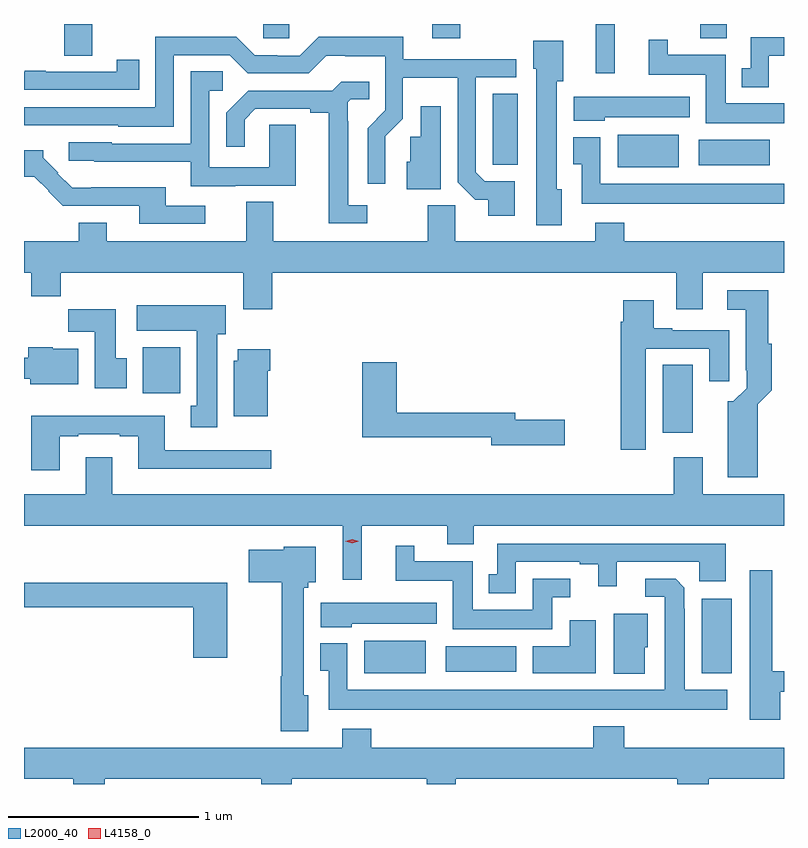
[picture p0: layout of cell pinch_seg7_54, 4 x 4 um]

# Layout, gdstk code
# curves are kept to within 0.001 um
import gdstk
lib = gdstk.Library(unit=1e-6, precision=1e-09)
def R(c, l, rs):  # rectangles x0, y0, x1, y1
    for r in rs: c.add(gdstk.rectangle(r[:2], r[2:], *l))
def P(c, l, *ps):  # polygons
    for p in ps: c.add(gdstk.Polygon(p, *l))
L2000_40 = (2000, 40)
L4158_0 = (4158, 0)

pinch_seg7_54 = lib.new_cell('pinch_seg7_54')
R(pinch_seg7_54, L2000_40, [(973.868,1046.459,974.191,1046.629), (975.644,1046.459,975.802,1046.851), (974.295,1046.468,974.668,1046.602), (975.437,1047.726,975.595,1048.082), (972.701,1047.932,972.898,1048.174), (975.2,1049.123,975.523,1049.293), (975.627,1049.132,976,1049.266), (975.086,1049.616,975.185,1049.876), (972.287,1049.71,972.435,1049.876), (974.225,1049.801,974.373,1049.876), (975.635,1049.801,975.775,1049.876), (973.335,1049.802,973.473,1049.876)])
P(pinch_seg7_54, L2000_40, [(974.659,1049.049),(974.502,1049.049),(974.454,1049.097),(974.454,1049.595),(974.668,1049.595),(974.668,1049.691),(974.071,1049.691),(974.071,1049.809),(973.627,1049.809),(973.527,1049.709),(973.41,1049.709),(973.41,1049.712),(973.29,1049.712),(973.194,1049.808),(972.768,1049.808),(972.768,1049.439),(972.076,1049.439),(972.076,1049.342),(972.573,1049.343),(972.573,1049.336),(972.864,1049.336),(972.864,1049.712),(973.158,1049.712),(973.254,1049.616),(973.575,1049.616),(973.668,1049.709),(973.768,1049.709),(973.768,1049.705),(973.977,1049.705),(973.977,1049.421),(973.884,1049.328),(973.884,1049.034),(973.978,1049.034),(973.978,1049.286),(974.07,1049.378),(974.07,1049.594),(974.358,1049.594),(974.358,1049.043),(974.451,1048.951),(974.519,1048.951),(974.519,1048.866),(974.659,1048.866)],
  [(975.996,1049.709),(976.076,1049.709),(976.076,1049.805),(975.9,1049.805),(975.9,1049.643),(975.854,1049.643),(975.854,1049.543),(975.996,1049.543)],
  [(976.076,1049.458),(975.769,1049.458),(975.769,1049.713),(975.463,1049.713),(975.463,1049.794),(975.365,1049.794),(975.365,1049.609),(975.665,1049.609),(975.665,1049.354),(976.076,1049.354)],
  [(974.905,1049.007),(974.881,1049.007),(974.881,1049.574),(974.914,1049.574),(974.914,1049.788),(974.756,1049.788),(974.756,1049.64),(974.771,1049.64),(974.771,1048.817),(974.905,1048.817)],
  [(972.683,1049.689),(972.565,1049.689),(972.565,1049.625),(972.191,1049.625),(972.191,1049.63),(972.079,1049.63),(972.079,1049.625),(972.076,1049.625),(972.076,1049.529),(972.683,1049.529)],
  [(973.189,1049.025),(973.507,1049.025),(973.507,1049.345),(973.368,1049.345),(973.368,1049.121),(973.05,1049.121),(973.05,1049.526),(973.123,1049.526),(973.123,1049.627),(972.954,1049.627),(972.954,1049.247),(972.537,1049.247),(972.537,1049.253),(972.312,1049.253),(972.312,1049.157),(972.447,1049.157),(972.447,1049.15),(972.953,1049.15),(972.953,1049.021),(973.189,1049.021)],
  [(973.882,1048.923),(973.783,1048.923),(973.783,1049.363),(973.779,1049.363),(973.779,1049.463),(973.797,1049.481),(973.892,1049.481),(973.892,1049.573),(973.746,1049.573),(973.698,1049.526),(973.256,1049.526),(973.14,1049.41),(973.14,1049.229),(973.237,1049.229),(973.237,1049.373),(973.294,1049.43),(973.583,1049.43),(973.583,1049.41),(973.679,1049.41),(973.679,1048.827),(973.882,1048.827)],
  [(974.674,1049.51),(974.543,1049.51),(974.543,1049.242),(974.544,1049.242),(974.544,1049.134),(974.674,1049.134)],
  [(975.132,1049.384),(975.58,1049.384),(975.58,1049.494),(974.97,1049.494),(974.97,1049.366),(975.132,1049.366)],
  [(974.269,1049.443),(974.165,1049.443),(974.165,1049.283),(974.109,1049.283),(974.109,1049.151),(974.09,1049.151),(974.09,1049.006),(974.269,1049.006)],
  [(976.076,1049.035),(975.108,1049.035),(975.108,1049.281),(974.966,1049.281),(974.966,1049.137),(975.011,1049.137),(975.011,1048.931),(976.076,1048.931)],
  [(973.03,1048.92),(972.823,1048.92),(972.823,1049.017),(972.43,1049.017),(972.43,1049.015),(972.329,1049.015),(972.252,1049.091),(972.255,1049.094),(972.176,1049.173),(972.176,1049.212),(972.076,1049.212),(972.076,1049.073),(972.131,1049.073),(972.205,1048.999),(972.203,1048.997),(972.279,1048.92),(972.683,1048.92),(972.683,1048.824),(973.03,1048.824)],
  [(973.382,1048.568),(975.509,1048.568),(975.509,1048.374),(975.649,1048.374),(975.649,1048.568),(976.076,1048.568),(976.076,1048.732),(975.236,1048.732),(975.236,1048.831),(975.083,1048.831),(975.083,1048.732),(974.346,1048.732),(974.346,1048.921),(974.2,1048.921),(974.2,1048.732),(973.387,1048.732),(973.387,1048.94),(973.247,1048.94),(973.247,1048.732),(972.511,1048.732),(972.511,1048.831),(972.364,1048.831),(972.364,1048.732),(972.076,1048.732),(972.076,1048.568),(972.113,1048.568),(972.113,1048.444),(972.269,1048.444),(972.269,1048.568),(973.229,1048.568),(973.229,1048.374),(973.382,1048.374)],
  [(975.937,1047.776),(975.938,1047.875),(976.012,1047.949),(976.012,1048.194),(975.994,1048.194),(975.994,1048.474),(975.777,1048.474),(975.777,1048.373),(975.875,1048.373),(975.875,1048.054),(975.879,1048.054),(975.879,1047.96),(975.809,1047.89),(975.779,1047.89),(975.779,1047.491),(975.937,1047.491)],
  [(975.349,1048.167),(975.683,1048.167),(975.683,1047.996),(975.787,1047.996),(975.787,1048.263),(975.487,1048.263),(975.487,1048.276),(975.391,1048.276),(975.391,1048.423),(975.23,1048.423),(975.23,1048.31),(975.218,1048.31),(975.218,1047.636),(975.349,1047.636)],
  [(973.093,1048.242),(973.138,1048.242),(973.138,1048.396),(972.669,1048.396),(972.669,1048.262),(972.986,1048.262),(972.986,1047.866),(972.953,1047.866),(972.953,1047.753),(973.093,1047.753)],
  [(972.616,1048.116),(972.559,1048.116),(972.559,1048.375),(972.31,1048.375),(972.31,1048.256),(972.449,1048.256),(972.449,1047.96),(972.616,1047.96)],
  [(972.361,1048.168),(972.228,1048.168),(972.228,1048.174),(972.098,1048.174),(972.098,1048.12),(972.076,1048.12),(972.076,1048.01),(972.11,1048.01),(972.11,1047.98),(972.361,1047.98)],
  [(973.36,1048.052),(973.373,1048.052),(973.373,1048.165),(973.202,1048.165),(973.202,1048.104),(973.181,1048.104),(973.181,1047.812),(973.36,1047.812)],
  [(974.923,1047.794),(974.662,1047.794),(974.662,1047.83),(974.039,1047.83),(974.039,1048.096),(973.856,1048.096),(973.856,1047.702),(974.534,1047.702),(974.534,1047.659),(974.923,1047.659)],
  [(972.265,1047.705),(972.361,1047.705),(972.361,1047.717),(972.581,1047.717),(972.581,1047.705),(972.677,1047.705),(972.677,1047.536),(973.378,1047.536),(973.378,1047.633),(972.817,1047.633),(972.817,1047.814),(972.113,1047.814),(972.113,1047.528),(972.265,1047.528)],
  [(973.853,1047.236),(974.303,1047.236),(974.303,1047.137),(974.443,1047.137),(974.443,1047.236),(976.076,1047.236),(976.076,1047.4),(975.649,1047.4),(975.649,1047.595),(975.497,1047.595),(975.497,1047.4),(972.541,1047.4),(972.541,1047.595),(972.401,1047.595),(972.401,1047.4),(972.076,1047.4),(972.076,1047.236),(973.754,1047.236),(973.754,1046.952),(973.853,1046.952)],
  [(974.664,1047.045),(975.002,1047.045),(975.002,1047.033),(975.098,1047.033),(975.098,1046.916),(975.196,1046.916),(975.196,1047.045),(975.63,1047.045),(975.63,1046.942),(975.769,1046.942),(975.769,1047.141),(974.568,1047.141),(974.568,1046.979),(974.522,1046.979),(974.522,1046.879),(974.664,1046.879)],
  [(974.857,1046.859),(974.95,1046.859),(974.95,1046.955),(974.753,1046.955),(974.753,1046.794),(974.437,1046.794),(974.437,1047.049),(974.131,1047.049),(974.131,1047.13),(974.033,1047.13),(974.033,1046.945),(974.333,1046.945),(974.333,1046.69),(974.857,1046.69)],
  [(973.573,1046.343),(973.549,1046.343),(973.549,1046.91),(973.573,1046.91),(973.573,1046.939),(973.612,1046.939),(973.612,1047.124),(973.443,1047.124),(973.443,1047.109),(973.26,1047.109),(973.26,1046.939),(973.432,1046.939),(973.432,1046.443),(973.427,1046.443),(973.427,1046.153),(973.573,1046.153)],
  [(976.057,1046.361),(976.076,1046.361),(976.076,1046.469),(976.015,1046.469),(976.015,1047.001),(975.896,1047.001),(975.896,1046.214),(976.057,1046.214)],
  [(975.778,1046.371),(975.553,1046.371),(975.552,1046.909),(975.506,1046.955),(975.345,1046.955),(975.345,1046.862),(975.449,1046.862),(975.449,1046.371),(973.776,1046.371),(973.776,1046.617),(973.634,1046.617),(973.634,1046.473),(973.679,1046.473),(973.679,1046.267),(975.778,1046.267)],
  [(973.146,1046.935),(972.076,1046.935),(972.076,1046.806),(972.968,1046.806),(972.968,1046.541),(973.146,1046.541)],
  [(973.8,1046.72),(974.248,1046.72),(974.248,1046.83),(973.638,1046.83),(973.638,1046.702),(973.8,1046.702)],
  [(975.343,1046.595),(975.358,1046.595),(975.358,1046.773),(975.179,1046.773),(975.179,1046.456),(975.343,1046.456)],
  [(975.085,1046.737),(974.948,1046.737),(974.948,1046.602),(974.753,1046.602),(974.753,1046.459),(975.085,1046.459)],
  [(972.5,1045.904),(973.325,1045.904),(973.325,1045.876),(973.485,1045.876),(973.485,1045.904),(974.195,1045.904),(974.195,1045.876),(974.348,1045.876),(974.348,1045.904),(975.515,1045.904),(975.515,1045.876),(975.68,1045.876),(975.68,1045.904),(976.076,1045.904),(976.076,1046.068),(975.236,1046.068),(975.236,1046.179),(975.071,1046.179),(975.071,1046.068),(973.904,1046.068),(973.904,1046.167),(973.751,1046.167),(973.751,1046.068),(972.076,1046.068),(972.076,1045.904),(972.335,1045.904),(972.335,1045.876),(972.5,1045.876)])
P(pinch_seg7_54, L4158_0, [(973.803,1047.144),(973.767,1047.154),(973.767,1047.154),(973.767,1047.154),(973.803,1047.164),(973.839,1047.154),(973.839,1047.154),(973.839,1047.154)])

lib.write_gds('pinch_seg7_54.gds')
